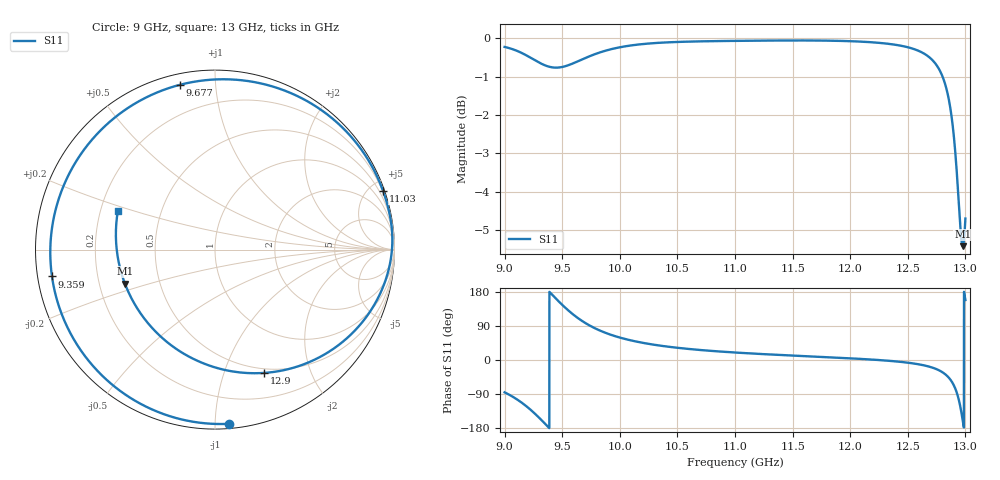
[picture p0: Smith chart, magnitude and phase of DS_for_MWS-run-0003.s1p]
! TOUCHSTONE file generated by CST DESIGN STUDIO
! Date and time: Tue Feb  4 16:43:45 2025
! Project name: C:\Work\MatlabApps\UnitCellOptimizationMatlab\CST\unitcell.cst
! Tree item: Tasks\Sweep1\SPara1\S-Parameters
! Header version: 2024
! Port assignment regex: !\s*Touchstone port\s*([0-9]+)\s*=\s*(CST MWS port|CST DES external port|CST DES block port)\s*(.+)\s* \(\"(.*)\"\)(\s*mode\s*([0-9]+))?.*
! Touchstone port assignment:
! Touchstone port 1 = CST DES external port 1 ("")
# GHz S MA R 50
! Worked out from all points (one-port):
!   4001 points, 9 GHz to 13 GHz, reference 50 ohm
!   lowest |S11| = -5.4 dB at 12.98 GHz (marker M1), VSWR 3.32, Z = 15.5 - j8.25 ohm
!   |S11| at or under -10 dB: nowhere
!   S11 on the Smith chart (normalised r, x): 9 GHz: 0.03, -1.09; 9.359 GHz: 0.04, -0.08; 9.677 GHz: 0.05, +0.81; 11.03 GHz: 0.15, +5.88; 12.9 GHz: 0.45, -1.37; 13 GHz: 0.27, +0.18
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9  0.9737 -85.3
9.102  0.9632 -102.9
9.188  0.9497 -121.8
9.268  0.9349 -143.0
9.359  0.9206 -170.6
9.427  0.9155 167.8
9.5  0.9171 145.6
9.586  0.9259 122.3
9.677  0.9386 102.2
9.832  0.9584 77.1
10  0.9727 59.2
10.216  0.9827 44.4
10.5  0.9884 32.2
11  0.9916 19.7
11.025  0.9917 19.3
11.5  0.9928 11.7
12  0.9906 4.4
12.5  0.9729 -7.1
12.671  0.9482 -16.3
12.777  0.9078 -28.1
12.848  0.8437 -44.0
12.876  0.7986 -54.5
12.902  0.7395 -68.3
12.924  0.6738 -85.1
12.942  0.6127 -104.0
12.959  0.561 -127.9
12.977  0.5365 -159.4
13  0.5827 158.2
